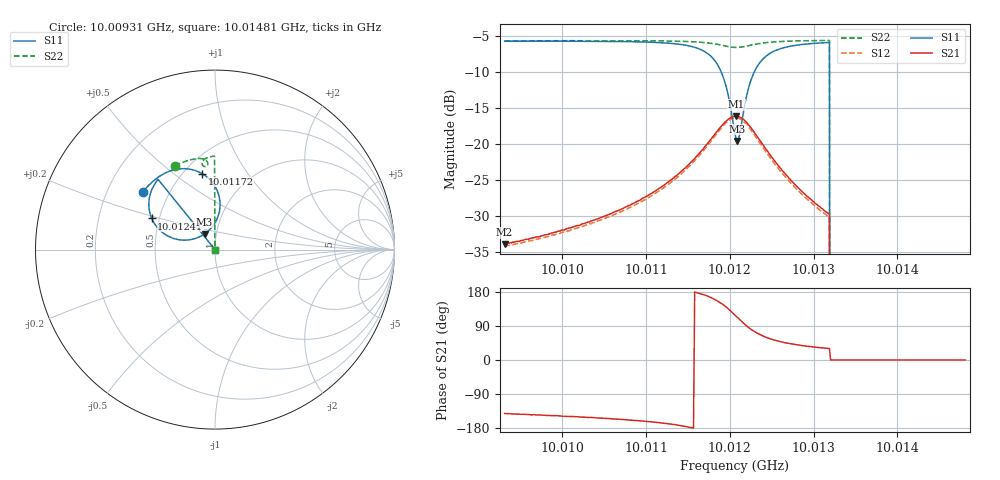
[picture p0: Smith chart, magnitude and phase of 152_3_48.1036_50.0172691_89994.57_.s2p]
#  HZ  S  RI  R  50.00
! Rohde & Schwarz Vector Network Analyzer
! Rohde-Schwarz,ZNB20-2Port,1311601062101988,3.16
! Created: UTC 12/23/2023, 3:49:52 AM
! freq[Hz]  re:S11  im:S11  re:S21  im:S21  re:S12  im:S12  re:S22  im:S22
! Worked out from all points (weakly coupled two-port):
!   401 points, 10.00931 GHz to 10.01481 GHz, reference 50 ohm
!   highest |S21| = -16.14 dB at 10.01208 GHz (marker M1); lowest = -33.9 dB at 10.00931 GHz (marker M2)
!   lowest |S11| = -19.6 dB at 10.01209 GHz (marker M3), VSWR 1.23, Z = 43.9 + j7.74 ohm
!   |S11| at or under -10 dB: 10.0119 GHz to 10.01229 GHz (397.1 kHz wide, 0.00397 % of centre); 10.01319 GHz to end of sweep
!   |S22| runs from - to -5.7 dB; largest |S21 - S12| = 0.0086
!   S11 on the Smith chart (normalised r, x): 10.00931 GHz: 0.36, +0.31; 10.01172 GHz: 0.61, +0.64; 10.01241 GHz: 0.45, +0.19; 10.01481 GHz: 1.00, +0.00
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1.0009314e10  -0.3999 0.3235  -0.0158 -0.0127  -0.0147 -0.0132  -0.2224 0.4674
1.0010235e10  -0.3451 0.3812  -0.0244 -0.0136  -0.0227 -0.0145  -0.1659 0.4913
1.0010688e10  -0.3065 0.4101  -0.0321 -0.0139  -0.0303 -0.0149  -0.1359 0.5004
1.0011156e10  -0.2457 0.4394  -0.0475 -0.0125  -0.0451 -0.0145  -0.1022 0.5067
1.0011444e10  -0.1809 0.4507  -0.0661 -0.00654  -0.0631 -0.00982  -0.0784 0.5072
1.0011719e10  -0.072 0.4236  -0.0967 0.0169  -0.0944 0.0116  -0.0529 0.4993
1.0011843e10  -0.00642 0.3629  -0.1115 0.0471  -0.1105 0.0397  -0.0428 0.4887
1.0011925e10  0.025 0.2857  -0.1136 0.0785  -0.1142 0.071  -0.0401 0.4781
1.001198e10  0.0254 0.2183  -0.1056 0.1036  -0.1076 0.0961  -0.0422 0.4705
1.0012063e10  -0.0268 0.114  -0.0739 0.1372  -0.0785 0.1299  -0.0515 0.4629
1.0012076e10  -0.0415 0.0999  -0.067 0.1408  -0.0715 0.134  -0.0536 0.4625
1.001209e10  -0.0582 0.0872  -0.0595 0.1439  -0.0642 0.1373  -0.0556 0.4623
1.0012118e10  -0.0939 0.0678  -0.0446 0.1473  -0.0486 0.1415  -0.0599 0.463
1.00122e10  -0.2069 0.056  -0.000392 0.141  -0.00582 0.1364  -0.0692 0.4709
1.0012255e10  -0.2673 0.0782  0.0207 0.1274  0.0151 0.1236  -0.0716 0.4783
1.0012406e10  -0.3525 0.1733  0.045 0.0859  0.0398 0.0837  -0.0658 0.4963
1.0012654e10  -0.3657 0.2877  0.0439 0.0451  0.0398 0.0451  -0.0452 0.5114
1.0012983e10  -0.3372 0.3635  0.0333 0.0233  0.0307 0.0237  -0.0185 0.5188
1.0013162e10  -0.3201 0.3882  0.0288 0.0171  0.0265 0.0177  -0.00486 0.5205
1.0013231e10  0 0  0 0  0 0  0 0
1.0013904e10  0 0  0 0  0 0  0 0
1.0014811e10  0 0  0 0  0 0  0 0
